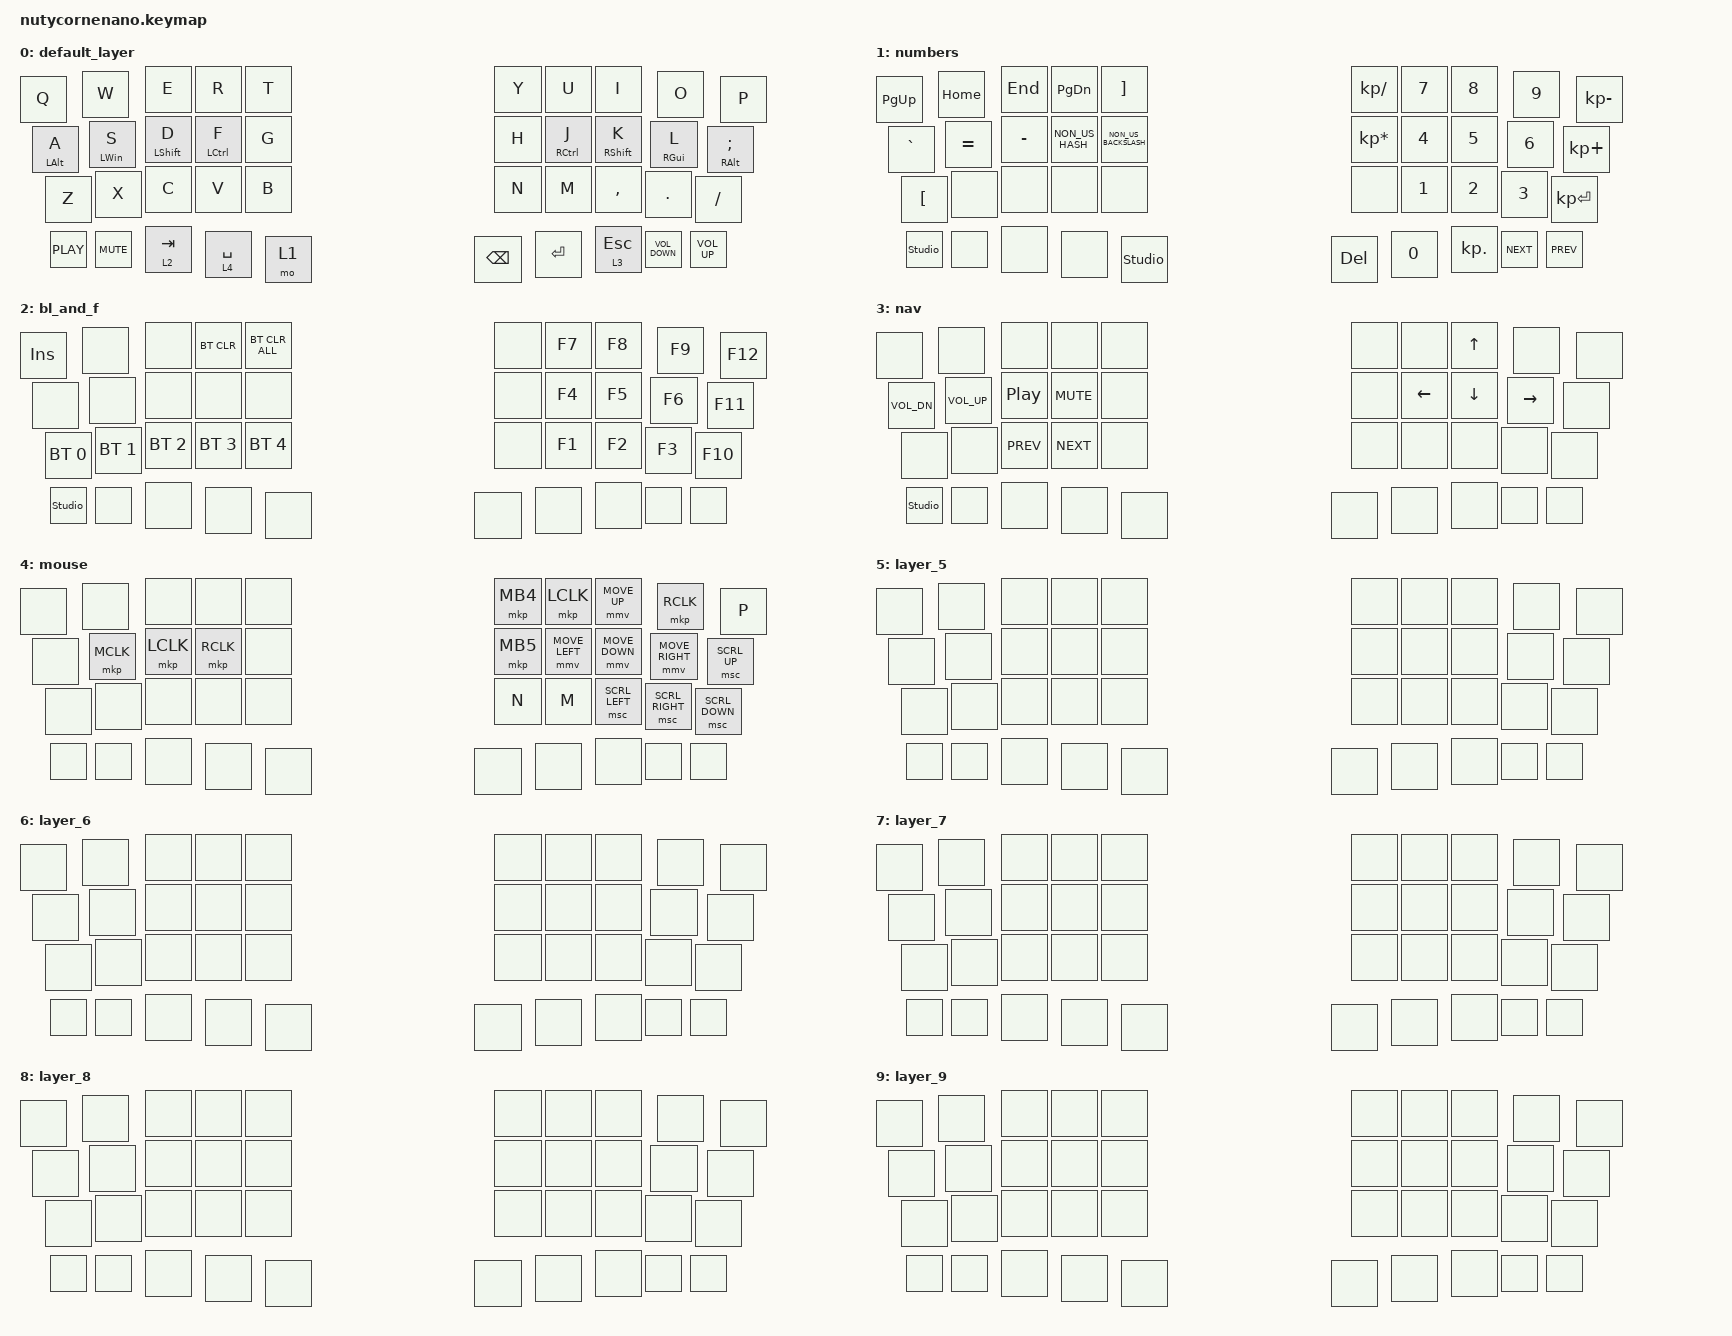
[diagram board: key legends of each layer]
/*
 * Copyright (c) 2020 The ZMK Contributors
 *
 * SPDX-License-Identifier: MIT
 */

#define ZMK_POINTING_DEFAULT_MOVE_VAL 800 // default: 600
#define ZMK_POINTING_DEFAULT_SCRL_VAL 16    // default: 10

#include <behaviors.dtsi>
#include <dt-bindings/zmk/bt.h>
#include <dt-bindings/zmk/keys.h>
#include <dt-bindings/zmk/pointing.h>

/ {
    behaviors {
        hm: homerow_mods {
            compatible = "zmk,behavior-hold-tap";
            #binding-cells = <2>;
            tapping-term-ms = <150>;
            flavor = "tap-preferred";
            require-prior-idle-ms = <125>;
            bindings = <&kp>, <&kp>;
        };
    };

    keymap {
        compatible = "zmk,keymap";

        default_layer {
            bindings = <
  &kp Q           &kp W           &kp E             &kp R        &kp T  &kp Y          &kp U        &kp I              &kp O              &kp P
  &hm LEFT_ALT A  &hm LEFT_WIN S  &hm LEFT_SHIFT D  &hm LCTRL F  &kp G  &kp H          &hm RCTRL J  &hm RIGHT_SHIFT K  &hm RIGHT_GUI L    &hm RIGHT_ALT SEMI
  &kp Z           &kp X           &kp C             &kp V        &kp B  &kp N          &kp M        &kp COMMA          &kp DOT            &kp FSLH
  &kp C_PLAY      &kp C_MUTE      &lt 2 TAB         &lt 4 SPACE  &mo 1  &kp BACKSPACE  &kp ENTER    &lt 3 ESCAPE       &kp C_VOLUME_DOWN  &kp C_VOLUME_UP
            >;
        };

        numbers {
            bindings = <
  &kp PAGE_UP       &kp HOME   &kp END    &kp PAGE_DOWN    &kp RBKT              &kp KP_DIVIDE    &kp N7        &kp N8        &kp N9        &kp KP_MINUS
  &kp GRAVE         &kp EQUAL  &kp MINUS  &kp NON_US_HASH  &kp NON_US_BACKSLASH  &kp KP_MULTIPLY  &kp NUMBER_4  &kp N5        &kp NUMBER_6  &kp KP_PLUS
  &kp LEFT_BRACKET  &none      &none      &none            &none                 &none            &kp NUMBER_1  &kp NUMBER_2  &kp NUMBER_3  &kp KP_ENTER
  &studio_unlock    &none      &none      &none            &studio_unlock        &kp DEL          &kp N0        &kp KP_DOT    &kp C_NEXT    &kp C_PREV
            >;
        };

        bl_and_f {
            bindings = <
  &kp INS         &none         &none         &bt BT_CLR    &bt BT_CLR_ALL  &none  &kp F7  &kp F8  &kp F9  &kp F12
  &none           &none         &none         &none         &none           &none  &kp F4  &kp F5  &kp F6  &kp F11
  &bt BT_SEL 0    &bt BT_SEL 1  &bt BT_SEL 2  &bt BT_SEL 3  &bt BT_SEL 4    &none  &kp F1  &kp F2  &kp F3  &kp F10
  &studio_unlock  &none         &none         &none         &none           &none  &none   &none   &none   &none
            >;
        };

        nav {
            bindings = <
  &none           &none         &none             &none       &none  &none  &none           &kp UP_ARROW  &none      &none
  &kp C_VOL_DN    &kp C_VOL_UP  &kp C_PLAY_PAUSE  &kp C_MUTE  &none  &none  &kp LEFT_ARROW  &kp DOWN      &kp RIGHT  &none
  &none           &none         &kp C_PREV        &kp C_NEXT  &none  &none  &none           &none         &none      &none
  &studio_unlock  &none         &none             &none       &none  &none  &none           &none         &none      &none
            >;
        };

        mouse {
            bindings = <
  &none  &none      &none      &none      &none  &mkp MB4  &mkp LCLK       &mmv MOVE_UP    &mkp RCLK        &kp P
  &none  &mkp MCLK  &mkp LCLK  &mkp RCLK  &none  &mkp MB5  &mmv MOVE_LEFT  &mmv MOVE_DOWN  &mmv MOVE_RIGHT  &msc SCRL_UP
  &none  &none      &none      &none      &none  &kp N     &kp M           &msc SCRL_LEFT  &msc SCRL_RIGHT  &msc SCRL_DOWN
  &none  &none      &none      &none      &none  &none     &none           &none           &none            &none
            >;
        };

        layer_5 {
            bindings = <
  &none  &none  &none  &none  &none  &none  &none  &none  &none  &none
  &none  &none  &none  &none  &none  &none  &none  &none  &none  &none
  &none  &none  &none  &none  &none  &none  &none  &none  &none  &none
  &none  &none  &none  &none  &none  &none  &none  &none  &none  &none
            >;
        };

        layer_6 {
            bindings = <
  &none  &none  &none  &none  &none  &none  &none  &none  &none  &none
  &none  &none  &none  &none  &none  &none  &none  &none  &none  &none
  &none  &none  &none  &none  &none  &none  &none  &none  &none  &none
  &none  &none  &none  &none  &none  &none  &none  &none  &none  &none
            >;
        };

        layer_7 {
            bindings = <
  &none  &none  &none  &none  &none  &none  &none  &none  &none  &none
  &none  &none  &none  &none  &none  &none  &none  &none  &none  &none
  &none  &none  &none  &none  &none  &none  &none  &none  &none  &none
  &none  &none  &none  &none  &none  &none  &none  &none  &none  &none
            >;
        };

        layer_8 {
            bindings = <
  &none  &none  &none  &none  &none  &none  &none  &none  &none  &none
  &none  &none  &none  &none  &none  &none  &none  &none  &none  &none
  &none  &none  &none  &none  &none  &none  &none  &none  &none  &none
  &none  &none  &none  &none  &none  &none  &none  &none  &none  &none
            >;
        };

        layer_9 {
            bindings = <
  &none  &none  &none  &none  &none  &none  &none  &none  &none  &none
  &none  &none  &none  &none  &none  &none  &none  &none  &none  &none
  &none  &none  &none  &none  &none  &none  &none  &none  &none  &none
  &none  &none  &none  &none  &none  &none  &none  &none  &none  &none
            >;
        };
    };
};
